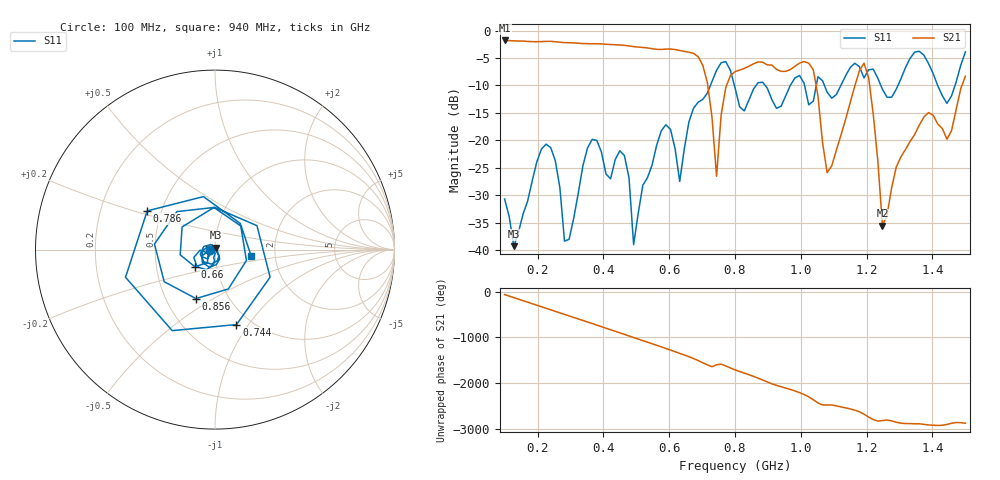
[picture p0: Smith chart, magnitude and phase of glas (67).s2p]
! NanoVNA-App
! Date: 2025-09-26 09:39:21
! Start: 100MHz Stop: 1,5GHz Points: 101
! S-Parameter data: F S11 S21 S12 S22
# Hz S RI R 50
!  Frequency  S11_Real  S11_Imag  S21_Real  S21_Imag  S12_Real  S12_Imag  S22_Real  S22_Imag
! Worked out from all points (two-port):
!   101 points, 100 MHz to 1.5 GHz, reference 50 ohm
!   highest |S21| = -1.79 dB at 100 MHz (marker M1); lowest = -35.6 dB at 1.248 GHz (marker M2)
!   |S21| within 3 dB of the highest: start of sweep to 688.4 MHz
!   lowest |S11| = -39.3 dB at 128 MHz (marker M3), VSWR 1.02, Z = 50.3 + j1.04 ohm
!   |S11| at or under -10 dB: start of sweep to 725.3 MHz; 798.3 MHz to 864 MHz (65.75 MHz wide, 7.91 % of centre); 891.8 MHz to 967.9 MHz (76.06 MHz wide, 8.18 % of centre)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
!   S12 and S22 are empty: the file has one direction only
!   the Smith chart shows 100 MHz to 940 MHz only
!   S11 on the Smith chart (normalised r, x): 100 MHz: 0.94, -0.01; 660 MHz: 0.79, -0.15; 744 MHz: 0.85, -0.88; 786 MHz: 0.42, +0.22; 856 MHz: 0.70, -0.42; 940 MHz: 1.50, -0.11
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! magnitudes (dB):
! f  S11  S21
! 100 MHz  -30.7  -1.8
! 128 MHz  -39.3  -1.9
! 212 MHz  -21.6  -2.0
! 282 MHz  -38.4  -2.2
! 338 MHz  -24.6  -2.4
! 464 MHz  -22.8  -2.7
! 492 MHz  -39.0  -2.9
! 576 MHz  -18.2  -3.4
! 632 MHz  -27.5  -3.6
! 660 MHz  -16.6  -3.9
! 716 MHz  -11.4  -9.5
! 744 MHz  -7.2  -26.6
! 786 MHz  -7.2  -8.2
! 800 MHz  -10.4  -7.5
! 856 MHz  -10.7  -6.1
! 940 MHz  -13.8  -7.4
! 1.038 GHz  -12.8  -7.2
! 1.08 GHz  -11.2  -25.9
! 1.192 GHz  -8.6  -5.9
! 1.248 GHz  -10.7  -35.6
! 1.276 GHz  -12.1  -28.6
! 1.5 GHz  -3.9  -8.3
